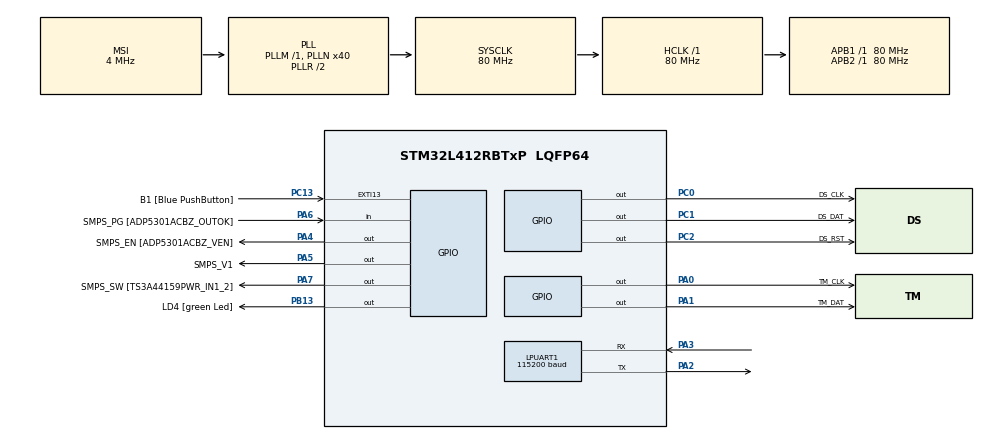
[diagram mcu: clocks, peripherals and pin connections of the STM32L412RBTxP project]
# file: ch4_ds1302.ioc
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LPUART1.BaudRate=115200
LPUART1.WordLength=UART_WORDLENGTH_8B
Mcu.Family=STM32L4
Mcu.Name=STM32L412RBTxP
Mcu.Package=LQFP64
NVIC.PriorityGroup=NVIC_PRIORITYGROUP_4
PA0.GPIO_Label=TM_CLK
PA0.GPIO_ModeDefaultOutputPP=GPIO_MODE_OUTPUT_OD
PA0.GPIO_PuPd=GPIO_PULLUP
PA0.GPIO_Speed=GPIO_SPEED_FREQ_VERY_HIGH
PA0.PinState=GPIO_PIN_SET
PA0.Signal=GPIO_Output
PA1.GPIO_Label=TM_DAT
PA1.GPIO_ModeDefaultOutputPP=GPIO_MODE_OUTPUT_OD
PA1.GPIO_PuPd=GPIO_PULLUP
PA1.GPIO_Speed=GPIO_SPEED_FREQ_VERY_HIGH
PA1.PinState=GPIO_PIN_SET
PA1.Signal=GPIO_Output
PA13\ (JTMS/SWDIO).GPIO_Label=TMS
PA13\ (JTMS/SWDIO).Mode=Serial_Wire
PA13\ (JTMS/SWDIO).Signal=SYS_JTMS-SWDIO
PA14\ (JTCK/SWCLK).GPIO_Label=TCK
PA14\ (JTCK/SWCLK).Mode=Serial_Wire
PA14\ (JTCK/SWCLK).Signal=SYS_JTCK-SWCLK
PA2.Mode=Asynchronous
PA2.Signal=LPUART1_TX
PA3.Mode=Asynchronous
PA3.Signal=LPUART1_RX
PA4.GPIO_Label=SMPS_EN [ADP5301ACBZ_VEN]
PA4.Signal=GPIO_Output
PA5.GPIO_Label=SMPS_V1
PA5.GPIO_ModeDefaultOutputPP=GPIO_MODE_OUTPUT_PP
PA5.GPIO_PuPd=GPIO_NOPULL
PA5.GPIO_Speed=GPIO_SPEED_FREQ_LOW
PA5.Signal=GPIO_Output
PA6.GPIO_Label=SMPS_PG [ADP5301ACBZ_OUTOK]
PA6.GPIO_PuPd=GPIO_PULLUP
PA6.Signal=GPIO_Input
PA7.GPIO_Label=SMPS_SW [TS3A44159PWR_IN1_2]
PA7.Signal=GPIO_Output
PB13.GPIO_Label=LD4 [green Led]
PB13.Signal=GPIO_Output
PB3\ (JTDO/TRACESWO).GPIO_Label=SWO
PB3\ (JTDO/TRACESWO).Signal=SYS_JTDO-SWO
PC0.GPIO_Label=DS_CLK 
PC0.GPIO_ModeDefaultOutputPP=GPIO_MODE_OUTPUT_PP
PC0.GPIO_PuPd=GPIO_NOPULL
PC0.GPIO_Speed=GPIO_SPEED_FREQ_LOW
PC0.PinState=GPIO_PIN_RESET
PC0.Signal=GPIO_Output
PC1.GPIO_Label=DS_DAT 
PC1.GPIO_ModeDefaultOutputPP=GPIO_MODE_OUTPUT_PP
PC1.GPIO_PuPd=GPIO_NOPULL
PC1.GPIO_Speed=GPIO_SPEED_FREQ_LOW
PC1.PinState=GPIO_PIN_RESET
PC1.Signal=GPIO_Output
PC13.GPIO_Label=B1 [Blue PushButton]
PC13.GPIO_ModeDefaultEXTI=GPIO_MODE_IT_FALLING
PC13.GPIO_PuPd=GPIO_NOPULL
PC13.Signal=GPXTI13
PC14-OSC32_IN\ (PC14).Mode=LSE-External-Oscillator
PC14-OSC32_IN\ (PC14).Signal=RCC_OSC32_IN
PC15-OSC32_OUT\ (PC15).Mode=LSE-External-Oscillator
PC15-OSC32_OUT\ (PC15).Signal=RCC_OSC32_OUT
PC2.GPIO_Label=DS_RST 
PC2.GPIO_ModeDefaultOutputPP=GPIO_MODE_OUTPUT_PP
PC2.GPIO_PuPd=GPIO_NOPULL
PC2.GPIO_Speed=GPIO_SPEED_FREQ_LOW
PC2.PinState=GPIO_PIN_RESET
PC2.Signal=GPIO_Output
PH0-OSC_IN\ (PH0).GPIO_Label=MCO
PH0-OSC_IN\ (PH0).Mode=HSE-External-Clock-Source
PH0-OSC_IN\ (PH0).Signal=RCC_OSC_IN
PH1-OSC_OUT\ (PH1).Signal=RCC_OSC_OUT
ProjectManager.HeapSize=0x200
ProjectManager.StackSize=0x400
ProjectManager.TargetToolchain=STM32CubeIDE
RCC.ADCFreq_Value=80000000
RCC.AHBFreq_Value=80000000
RCC.APB1Freq_Value=80000000
RCC.APB1TimFreq_Value=80000000
RCC.APB2Freq_Value=80000000
RCC.APB2TimFreq_Value=80000000
RCC.CortexFreq_Value=80000000
RCC.FLatency=FLASH_LATENCY_4
RCC.HCLKFreq_Value=80000000
RCC.HSE_VALUE=8000000
RCC.HSI48_VALUE=48000000
RCC.HSICalibrationValue=64
RCC.HSI_VALUE=16000000
RCC.MSIAutoCalibration=DISABLED
RCC.MSI_VALUE=4000000
RCC.PLLN=40
RCC.PREFETCH_ENABLE=1
RCC.SYSCLKFreq_VALUE=80000000
RCC.SYSCLKSource=RCC_SYSCLKSOURCE_PLLCLK
RCC.USBFreq_Value=4000000
RCC.VCOOutputFreq_Value=160000000
TIM2.Prescaler=79
VP_TIM2_VS_ClockSourceINT.Mode=Internal
board=NUCLEO-L412RB-P

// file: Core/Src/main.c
/* USER CODE BEGIN Header */

/**
  ******************************************************************************
  * @file           : main.c
  * @brief          : Main program body
  ******************************************************************************
  * @attention
  *
  * Copyright (c) 2026 STMicroelectronics.
  * All rights reserved.
  *
  * This software is licensed under terms that can be found in the LICENSE file
  * in the root directory of this software component.
  * If no LICENSE file comes with this software, it is provided AS-IS.
  *
  ******************************************************************************
  */
/* USER CODE END Header */
#include "main.h"

/* USER CODE BEGIN Includes */
#include <stdint.h>
#include <stdio.h>
#include <stm32l412xx.h>
// #include <unistd.h>

#include "ds1302.h"
#include "tm1637.h"

/* USER CODE END Includes */

UART_HandleTypeDef hlpuart1;

TIM_HandleTypeDef htim2;

/* USER CODE BEGIN PV */
// UART로 출력 보내기 위한 함수
int _write(int file, char *ptr, int len) {

  //(void)file;
  HAL_UART_Transmit(&hlpuart1, (uint8_t *)ptr, len, HAL_MAX_DELAY);
  return len;

}
/* USER CODE END PV */

void SystemClock_Config(void);
static void MX_GPIO_Init(void);
static void MX_LPUART1_UART_Init(void);
static void MX_TIM2_Init(void);

/* USER CODE BEGIN 0 */
void delay_5us(void) {
  __HAL_TIM_SET_COUNTER(&htim2, 0);
  while ((__HAL_TIM_GET_COUNTER(&htim2)) < 5);
}
/* USER CODE END 0 */

int main(void)
{

  /* MCU Configuration--------------------------------------------------------*/

  /* Reset of all peripherals, Initializes the Flash interface and the Systick. */
  HAL_Init();

  /* Configure the system clock */
  SystemClock_Config();

  /* Initialize all configured peripherals */
  MX_GPIO_Init();
  MX_LPUART1_UART_Init();
  MX_TIM2_Init();
  /* USER CODE BEGIN 2 */
  HAL_TIM_Base_Start(&htim2);

  printf("UART print test \r\n");

  // Tirckle Charger 정보
  printf("Tirckle Charger inform : %#x \r\n", read_reg_ds1302(0x91));

  // delay test
  HAL_GPIO_WritePin(GPIOA, TM_CLK_Pin, GPIO_PIN_RESET);
  delay_5us();
  HAL_GPIO_WritePin(GPIOA, TM_CLK_Pin, GPIO_PIN_SET);

  //구조체 , 공용체 선언
  _MCU_time_data mcu_clock;

  DS1302_Init(&mcu_clock);

  bust_mode_Bitfield();

  // // 11 PM 설정 - for test=
  // write_reg_ds1302(0x84, 0xB1);
  // if (is_hour_PM_mode()) {
  //   printf(" is_hour_PM_mode() \r\n");
  // }

  // 전처리기로 테스트만 진행 -> 추후에 변수 넣어 재사용 가능
  set_new_time(&mcu_clock,SET_INIT_TIME_TYPE,SET_SEC,SET_MIN,SET_HOUR,SET_DATE,SET_MONTH,SET_DAY,SET_Year);
  enable_ch(ENABLE_CLOCK);
  bust_mode_Bitfield();

  set_hour_type_12_24(&mcu_clock, HOUR_TYPE_12);
  bust_mode_Bitfield();

  // test - 로직아날라이저 확인 ok///////////////
  test_write_tm1637();

  /* USER CODE END 2 */

  /* Infinite loop */
  /* USER CODE BEGIN WHILE */
  while (1) {
    printf(" \r\n");

    printf("Bitfield \r\n");
    bust_mode_Bitfield();

    HAL_Delay(1000);
    /* USER CODE END WHILE */

  }
}

void SystemClock_Config(void)
{
  RCC_OscInitTypeDef RCC_OscInitStruct = {0};
  RCC_ClkInitTypeDef RCC_ClkInitStruct = {0};

  /** Configure the main internal regulator output voltage
  */
  if (HAL_PWREx_ControlVoltageScaling(PWR_REGULATOR_VOLTAGE_SCALE1) != HAL_OK)
  {
    Error_Handler();
  }

  /** Initializes the RCC Oscillators according to the specified parameters
  * in the RCC_OscInitTypeDef structure.
  */
  RCC_OscInitStruct.OscillatorType = RCC_OSCILLATORTYPE_MSI;
  RCC_OscInitStruct.MSIState = RCC_MSI_ON;
  RCC_OscInitStruct.MSICalibrationValue = 0;
  RCC_OscInitStruct.MSIClockRange = RCC_MSIRANGE_6;
  RCC_OscInitStruct.PLL.PLLState = RCC_PLL_ON;
  RCC_OscInitStruct.PLL.PLLSource = RCC_PLLSOURCE_MSI;
  RCC_OscInitStruct.PLL.PLLM = 1;
  RCC_OscInitStruct.PLL.PLLN = 40;
  RCC_OscInitStruct.PLL.PLLQ = RCC_PLLQ_DIV2;
  RCC_OscInitStruct.PLL.PLLR = RCC_PLLR_DIV2;
  if (HAL_RCC_OscConfig(&RCC_OscInitStruct) != HAL_OK)
  {
    Error_Handler();
  }

  /** Initializes the CPU, AHB and APB buses clocks
  */
  RCC_ClkInitStruct.ClockType = RCC_CLOCKTYPE_HCLK|RCC_CLOCKTYPE_SYSCLK
                              |RCC_CLOCKTYPE_PCLK1|RCC_CLOCKTYPE_PCLK2;
  RCC_ClkInitStruct.SYSCLKSource = RCC_SYSCLKSOURCE_PLLCLK;
  RCC_ClkInitStruct.AHBCLKDivider = RCC_SYSCLK_DIV1;
  RCC_ClkInitStruct.APB1CLKDivider = RCC_HCLK_DIV1;
  RCC_ClkInitStruct.APB2CLKDivider = RCC_HCLK_DIV1;

  if (HAL_RCC_ClockConfig(&RCC_ClkInitStruct, FLASH_LATENCY_4) != HAL_OK)
  {
    Error_Handler();
  }
}

static void MX_LPUART1_UART_Init(void)
{

  hlpuart1.Instance = LPUART1;
  hlpuart1.Init.BaudRate = 115200;
  hlpuart1.Init.WordLength = UART_WORDLENGTH_8B;
  hlpuart1.Init.StopBits = UART_STOPBITS_1;
  hlpuart1.Init.Parity = UART_PARITY_NONE;
  hlpuart1.Init.Mode = UART_MODE_TX_RX;
  hlpuart1.Init.HwFlowCtl = UART_HWCONTROL_NONE;
  hlpuart1.Init.OneBitSampling = UART_ONE_BIT_SAMPLE_DISABLE;
  hlpuart1.AdvancedInit.AdvFeatureInit = UART_ADVFEATURE_NO_INIT;
  if (HAL_UART_Init(&hlpuart1) != HAL_OK)
  {
    Error_Handler();
  }

}

static void MX_TIM2_Init(void)
{

  TIM_ClockConfigTypeDef sClockSourceConfig = {0};
  TIM_MasterConfigTypeDef sMasterConfig = {0};

  htim2.Instance = TIM2;
  htim2.Init.Prescaler = 79;
  htim2.Init.CounterMode = TIM_COUNTERMODE_UP;
  htim2.Init.Period = 4294967295;
  htim2.Init.ClockDivision = TIM_CLOCKDIVISION_DIV1;
  htim2.Init.AutoReloadPreload = TIM_AUTORELOAD_PRELOAD_DISABLE;
  if (HAL_TIM_Base_Init(&htim2) != HAL_OK)
  {
    Error_Handler();
  }
  sClockSourceConfig.ClockSource = TIM_CLOCKSOURCE_INTERNAL;
  if (HAL_TIM_ConfigClockSource(&htim2, &sClockSourceConfig) != HAL_OK)
  {
    Error_Handler();
  }
  sMasterConfig.MasterOutputTrigger = TIM_TRGO_RESET;
  sMasterConfig.MasterSlaveMode = TIM_MASTERSLAVEMODE_DISABLE;
  if (HAL_TIMEx_MasterConfigSynchronization(&htim2, &sMasterConfig) != HAL_OK)
  {
    Error_Handler();
  }

}

static void MX_GPIO_Init(void)
{
  GPIO_InitTypeDef GPIO_InitStruct = {0};

  /* GPIO Ports Clock Enable */
  __HAL_RCC_GPIOC_CLK_ENABLE();
  __HAL_RCC_GPIOH_CLK_ENABLE();
  __HAL_RCC_GPIOA_CLK_ENABLE();
  __HAL_RCC_GPIOB_CLK_ENABLE();

  /*Configure GPIO pin Output Level */
  HAL_GPIO_WritePin(GPIOC, DS_CLK_Pin|DS_DAT_Pin|DS_RST_Pin, GPIO_PIN_RESET);

  /*Configure GPIO pin Output Level */
  HAL_GPIO_WritePin(GPIOA, TM_CLK_Pin|TM_DAT_Pin, GPIO_PIN_SET);

  /*Configure GPIO pin Output Level */
  HAL_GPIO_WritePin(GPIOA, SMPS_EN_Pin|SMPS_V1_Pin|SMPS_SW_Pin, GPIO_PIN_RESET);

  /*Configure GPIO pin Output Level */
  HAL_GPIO_WritePin(LD4_GPIO_Port, LD4_Pin, GPIO_PIN_RESET);

  /*Configure GPIO pin : B1_Pin */
  GPIO_InitStruct.Pin = B1_Pin;
  GPIO_InitStruct.Mode = GPIO_MODE_IT_FALLING;
  GPIO_InitStruct.Pull = GPIO_NOPULL;
  HAL_GPIO_Init(B1_GPIO_Port, &GPIO_InitStruct);

  /*Configure GPIO pins : DS_CLK_Pin DS_DAT_Pin DS_RST_Pin */
  GPIO_InitStruct.Pin = DS_CLK_Pin|DS_DAT_Pin|DS_RST_Pin;
  GPIO_InitStruct.Mode = GPIO_MODE_OUTPUT_PP;
  GPIO_InitStruct.Pull = GPIO_NOPULL;
  GPIO_InitStruct.Speed = GPIO_SPEED_FREQ_LOW;
  HAL_GPIO_Init(GPIOC, &GPIO_InitStruct);

  /*Configure GPIO pins : TM_CLK_Pin TM_DAT_Pin */
  GPIO_InitStruct.Pin = TM_CLK_Pin|TM_DAT_Pin;
  GPIO_InitStruct.Mode = GPIO_MODE_OUTPUT_PP;
  GPIO_InitStruct.Pull = GPIO_PULLUP;
  GPIO_InitStruct.Speed = GPIO_SPEED_FREQ_VERY_HIGH;
  HAL_GPIO_Init(GPIOA, &GPIO_InitStruct);

  /*Configure GPIO pins : SMPS_EN_Pin SMPS_V1_Pin SMPS_SW_Pin */
  GPIO_InitStruct.Pin = SMPS_EN_Pin|SMPS_V1_Pin|SMPS_SW_Pin;
  GPIO_InitStruct.Mode = GPIO_MODE_OUTPUT_PP;
  GPIO_InitStruct.Pull = GPIO_NOPULL;
  GPIO_InitStruct.Speed = GPIO_SPEED_FREQ_LOW;
  HAL_GPIO_Init(GPIOA, &GPIO_InitStruct);

  /*Configure GPIO pin : SMPS_PG_Pin */
  GPIO_InitStruct.Pin = SMPS_PG_Pin;
  GPIO_InitStruct.Mode = GPIO_MODE_INPUT;
  GPIO_InitStruct.Pull = GPIO_PULLUP;
  HAL_GPIO_Init(SMPS_PG_GPIO_Port, &GPIO_InitStruct);

  /*Configure GPIO pin : LD4_Pin */
  GPIO_InitStruct.Pin = LD4_Pin;
  GPIO_InitStruct.Mode = GPIO_MODE_OUTPUT_PP;
  GPIO_InitStruct.Pull = GPIO_NOPULL;
  GPIO_InitStruct.Speed = GPIO_SPEED_FREQ_LOW;
  HAL_GPIO_Init(LD4_GPIO_Port, &GPIO_InitStruct);

}

void Error_Handler(void)
{
  __disable_irq();
  while (1)
  {
  }
}
